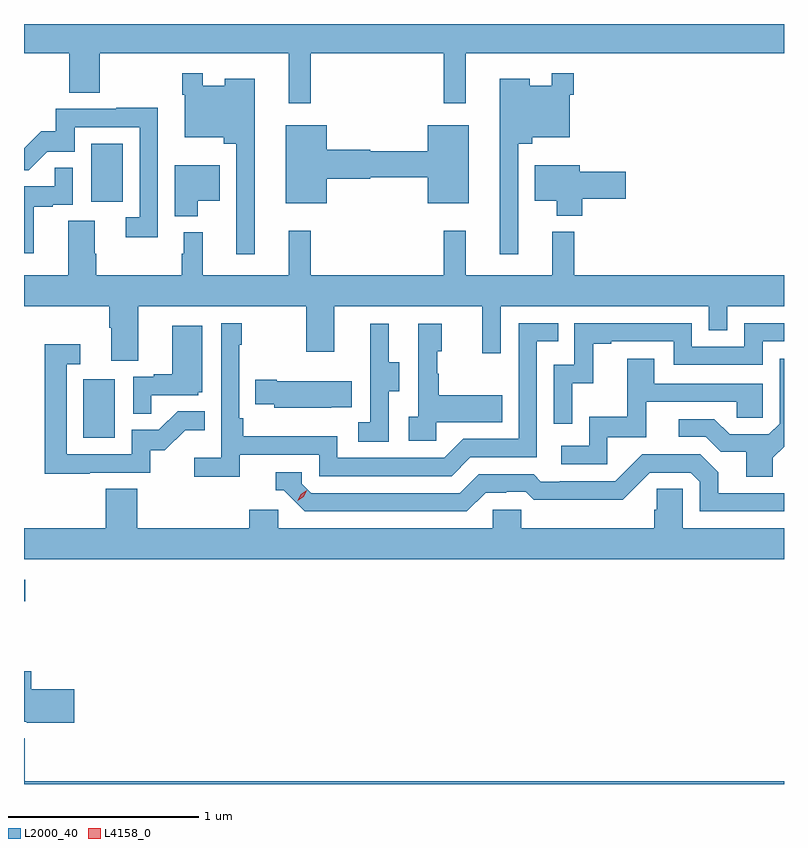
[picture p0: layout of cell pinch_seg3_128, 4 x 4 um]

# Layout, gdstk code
import gdstk
lib = gdstk.Library(unit=1e-6, precision=1e-09)
def R(c, l, rs):  # rectangles x0, y0, x1, y1
    for r in rs: c.add(gdstk.rectangle(r[:2], r[2:], *l))
def P(c, l, *ps):  # polygons
    for p in ps: c.add(gdstk.Polygon(p, *l))
L2000_40 = (2000, 40)
L4158_0 = (4158, 0)

pinch_seg3_128 = lib.new_cell('pinch_seg3_128')
R(pinch_seg3_128, L2000_40, [(1128.931,716.681,1128.938,716.794), (1129.244,717.54,1129.408,717.847), (1129.286,718.782,1129.45,719.089)])
P(pinch_seg3_128, L2000_40, [(1130.441,719.564),(1131.139,719.564),(1131.139,719.301),(1131.256,719.301),(1131.256,719.564),(1132.931,719.564),(1132.931,719.718),(1128.931,719.718),(1128.931,719.564),(1129.169,719.564),(1129.169,719.356),(1129.329,719.356),(1129.329,719.564),(1130.324,719.564),(1130.324,719.301),(1130.441,719.301)],
  [(1131.531,719.087),(1131.605,719.087),(1131.605,719.123),(1131.804,719.123),(1131.804,719.345),(1131.824,719.345),(1131.824,719.458),(1131.708,719.458),(1131.708,719.392),(1131.592,719.392),(1131.592,719.431),(1131.434,719.431),(1131.434,718.506),(1131.531,718.506)],
  [(1130.146,719.431),(1129.988,719.431),(1129.988,719.392),(1129.872,719.392),(1129.872,719.458),(1129.764,719.458),(1129.764,719.345),(1129.776,719.345),(1129.776,719.123),(1129.981,719.123),(1129.981,719.087),(1130.049,719.087),(1130.049,718.506),(1130.146,718.506)],
  [(1129.635,719.276),(1129.417,719.276),(1129.417,719.271),(1129.099,719.271),(1129.099,719.154),(1129.022,719.154),(1128.931,719.063),(1128.931,718.948),(1128.955,718.948),(1129.053,719.046),(1129.197,719.046),(1129.197,719.175),(1129.539,719.175),(1129.539,718.701),(1129.467,718.701),(1129.467,718.596),(1129.635,718.596)],
  [(1130.524,718.904),(1130.754,718.904),(1130.754,718.912),(1131.056,718.912),(1131.056,718.775),(1131.271,718.775),(1131.271,719.185),(1131.056,719.185),(1131.056,719.048),(1130.754,719.048),(1130.754,719.056),(1130.524,719.056),(1130.524,719.185),(1130.309,719.185),(1130.309,718.775),(1130.524,718.775)],
  [(1129.846,718.787),(1129.96,718.787),(1129.96,718.975),(1129.724,718.975),(1129.724,718.706),(1129.846,718.706)],
  [(1131.869,718.798),(1132.099,718.798),(1132.099,718.94),(1131.856,718.94),(1131.856,718.975),(1131.62,718.975),(1131.62,718.787),(1131.734,718.787),(1131.734,718.709),(1131.869,718.709)],
  [(1128.982,718.755),(1129.082,718.755),(1129.082,718.767),(1129.188,718.767),(1129.188,718.961),(1129.093,718.961),(1129.093,718.863),(1128.931,718.863),(1128.931,718.512),(1128.982,718.512)],
  [(1129.531,718.232),(1130.416,718.232),(1130.416,717.993),(1130.563,717.993),(1130.563,718.232),(1131.344,718.232),(1131.344,717.984),(1131.441,717.984),(1131.441,718.232),(1132.536,718.232),(1132.536,718.105),(1132.632,718.105),(1132.632,718.232),(1132.931,718.232),(1132.931,718.396),(1131.827,718.396),(1131.827,718.624),(1131.71,718.624),(1131.71,718.396),(1131.257,718.396),(1131.257,718.63),(1131.139,718.63),(1131.139,718.396),(1130.441,718.396),(1130.441,718.63),(1130.324,718.63),(1130.324,718.396),(1129.871,718.396),(1129.871,718.621),(1129.772,718.621),(1129.772,718.508),(1129.761,718.508),(1129.761,718.396),(1129.311,718.396),(1129.311,718.508),(1129.303,718.508),(1129.303,718.682),(1129.163,718.682),(1129.163,718.396),(1128.931,718.396),(1128.931,718.232),(1129.379,718.232),(1129.379,718.12),(1129.391,718.12),(1129.391,717.946),(1129.531,717.946)],
  [(1130.066,717.45),(1130.484,717.45),(1130.484,717.339),(1131.181,717.339),(1131.28,717.438),(1131.63,717.438),(1131.63,718.047),(1131.743,718.047),(1131.743,718.143),(1131.534,718.143),(1131.534,717.534),(1131.243,717.534),(1131.144,717.435),(1130.58,717.435),(1130.58,717.547),(1130.084,717.547),(1130.084,717.643),(1130.064,717.643),(1130.064,718.031),(1130.077,718.031),(1130.077,718.144),(1129.968,718.144),(1129.968,717.436),(1129.827,717.436),(1129.827,717.334),(1130.066,717.334)],
  [(1131.816,717.827),(1131.926,717.827),(1131.926,718.035),(1132.021,718.035),(1132.021,718.047),(1132.35,718.047),(1132.35,717.924),(1132.818,717.924),(1132.818,718.047),(1132.931,718.047),(1132.931,718.143),(1132.722,718.143),(1132.722,718.02),(1132.446,718.02),(1132.446,718.143),(1131.828,718.143),(1131.828,717.924),(1131.72,717.924),(1131.72,717.615),(1131.816,717.615)],
  [(1130.85,717.784),(1130.905,717.784),(1130.905,717.939),(1130.851,717.939),(1130.851,718.141),(1130.753,718.141),(1130.753,717.927),(1130.754,717.927),(1130.754,717.623),(1130.691,717.623),(1130.691,717.52),(1130.85,717.52)],
  [(1131.102,717.623),(1131.449,717.623),(1131.449,717.763),(1131.115,717.763),(1131.115,717.878),(1131.105,717.878),(1131.105,717.996),(1131.13,717.996),(1131.13,718.141),(1131.006,718.141),(1131.006,717.65),(1130.955,717.65),(1130.955,717.525),(1131.102,717.525)],
  [(1129.601,717.765),(1129.848,717.765),(1129.848,717.78),(1129.87,717.78),(1129.87,718.129),(1129.712,718.129),(1129.712,717.874),(1129.613,717.874),(1129.613,717.861),(1129.506,717.861),(1129.506,717.667),(1129.601,717.667)],
  [(1129.277,717.357),(1129.596,717.357),(1129.596,717.474),(1129.672,717.474),(1129.779,717.581),(1129.883,717.581),(1129.883,717.68),(1129.739,717.68),(1129.641,717.582),(1129.497,717.582),(1129.497,717.453),(1129.155,717.453),(1129.155,717.927),(1129.228,717.927),(1129.228,718.033),(1129.039,718.033),(1129.039,717.352),(1129.277,717.352)],
  [(1132.873,717.436),(1132.931,717.494),(1132.931,717.955),(1132.908,717.955),(1132.908,717.615),(1132.851,717.558),(1132.645,717.558),(1132.564,717.639),(1132.377,717.639),(1132.377,717.546),(1132.518,717.546),(1132.598,717.466),(1132.733,717.466),(1132.733,717.334),(1132.873,717.334)],
  [(1132.002,717.543),(1132.207,717.543),(1132.207,717.729),(1132.681,717.729),(1132.681,717.645),(1132.818,717.645),(1132.818,717.825),(1132.249,717.825),(1132.249,717.955),(1132.105,717.955),(1132.105,717.652),(1131.906,717.652),(1131.906,717.498),(1131.759,717.498),(1131.759,717.402),(1132.002,717.402)],
  [(1130.549,717.701),(1130.657,717.701),(1130.657,717.838),(1130.26,717.838),(1130.26,717.846),(1130.149,717.846),(1130.149,717.716),(1130.247,717.716),(1130.247,717.698),(1130.549,717.698)],
  [(1131.361,717.252),(1131.468,717.252),(1131.468,717.255),(1131.571,717.255),(1131.613,717.213),(1131.846,717.213),(1131.846,717.215),(1132.082,717.215),(1132.224,717.357),(1132.44,717.357),(1132.488,717.309),(1132.488,717.153),(1132.931,717.153),(1132.931,717.249),(1132.585,717.249),(1132.585,717.359),(1132.491,717.453),(1132.185,717.453),(1132.044,717.312),(1131.751,717.312),(1131.751,717.309),(1131.652,717.309),(1131.613,717.348),(1131.324,717.348),(1131.225,717.249),(1130.442,717.249),(1130.394,717.297),(1130.394,717.36),(1130.255,717.36),(1130.255,717.264),(1130.298,717.264),(1130.409,717.153),(1131.262,717.153)],
  [(1132.931,717.064),(1132.398,717.064),(1132.398,717.272),(1132.261,717.272),(1132.261,717.162),(1132.247,717.162),(1132.247,717.064),(1131.549,717.064),(1131.549,717.162),(1131.399,717.162),(1131.399,717.064),(1130.268,717.064),(1130.268,717.162),(1130.117,717.162),(1130.117,717.064),(1129.526,717.064),(1129.526,717.272),(1129.361,717.272),(1129.361,717.064),(1128.931,717.064),(1128.931,716.9),(1132.931,716.9)],
  [(1129.195,716.216),(1128.97,716.216),(1128.97,716.311),(1128.931,716.311),(1128.931,716.045),(1128.946,716.045),(1128.946,716.04),(1129.195,716.04)],
  [(1132.931,715.732),(1128.936,715.732),(1128.936,715.96),(1128.931,715.96),(1128.931,715.718),(1132.931,715.718)])
P(pinch_seg3_128, L4158_0, [(1130.372,717.21),(1130.372,717.21),(1130.388,717.243),(1130.418,717.263),(1130.418,717.263),(1130.418,717.262),(1130.403,717.23),(1130.372,717.21)])

lib.write_gds('pinch_seg3_128.gds')
